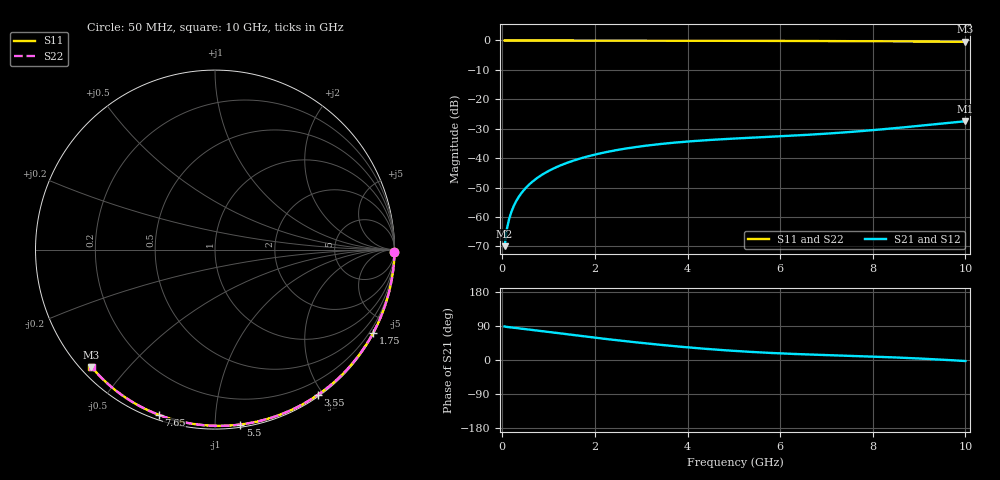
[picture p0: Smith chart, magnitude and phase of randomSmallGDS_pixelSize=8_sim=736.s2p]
! freq	dB(S11)	phase(S11)	dB(S12)	phase(S12)
!  dB(S21)	phase(S21)	dB(S22)	phase(S22)
!S-par simulation data
#  GHz  S  DB  R 50
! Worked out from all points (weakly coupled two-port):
!   200 points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, 50 MHz to 10 GHz, reference 50 ohm
!   highest |S21| = -27.46 dB at 10 GHz (marker M1); lowest = -69.9 dB at 50 MHz (marker M2)
!   lowest |S11| = -0.5 dB at 10 GHz (marker M3), VSWR 38.31, Z = 1.51 - j19.9 ohm
!   |S11| at or under -10 dB: nowhere
!   |S22| runs from -0.5 to 0.0 dB; largest |S21 - S12| = 0
!   S11 on the Smith chart (normalised r, x): 50 MHz: open; 1.75 GHz: 0.04, -4.06; 3.55 GHz: 0.02, -1.93; 5.5 GHz: 0.02, -1.16; 7.65 GHz: 0.02, -0.71; 10 GHz: 0.03, -0.40
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0.05  -0.00 -0.8  -69.92 88.4  -69.92 88.4  -0.00 -0.8
0.1  -0.00 -1.6  -63.99 87.3  -63.99 87.3  -0.00 -1.6
0.15  -0.00 -2.4  -60.54 86.5  -60.54 86.5  -0.00 -2.4
0.2  -0.00 -3.2  -58.09 85.8  -58.09 85.8  -0.00 -3.2
0.25  -0.00 -4.0  -56.18 85.1  -56.18 85.1  -0.00 -4.0
0.35  -0.00 -5.6  -53.30 83.7  -53.30 83.7  -0.00 -5.6
0.5  -0.01 -8.0  -50.24 81.5  -50.24 81.5  -0.01 -8.0
0.7  -0.01 -11.2  -47.37 78.5  -47.37 78.5  -0.01 -11.2
1  -0.02 -15.9  -44.36 73.9  -44.36 73.9  -0.02 -15.9
1.35  -0.03 -21.4  -41.88 68.6  -41.88 68.6  -0.03 -21.4
1.75  -0.04 -27.7  -39.81 62.6  -39.81 62.6  -0.04 -27.6
2.5  -0.05 -39.1  -37.18 51.8  -37.18 51.8  -0.05 -39.1
3.4  -0.07 -52.5  -35.23 40.2  -35.23 40.2  -0.07 -52.5
3.55  -0.07 -54.7  -34.98 38.4  -34.98 38.4  -0.07 -54.7
4.3  -0.09 -65.4  -34.01 30.4  -34.01 30.4  -0.09 -65.4
5.05  -0.12 -75.7  -33.31 23.7  -33.31 23.7  -0.12 -75.7
5.5  -0.13 -81.7  -32.95 20.5  -32.95 20.5  -0.13 -81.7
6.7  -0.19 -97.2  -31.97 14.2  -31.97 14.2  -0.19 -97.2
7.65  -0.24 -108.9  -30.94 10.4  -30.94 10.4  -0.24 -108.8
8.35  -0.30 -117.2  -30.00 7.4  -30.00 7.4  -0.30 -117.2
9.2  -0.37 -127.2  -28.71 2.7  -28.71 2.7  -0.37 -127.2
10  -0.45 -136.5  -27.46 -2.7  -27.46 -2.7  -0.45 -136.4
